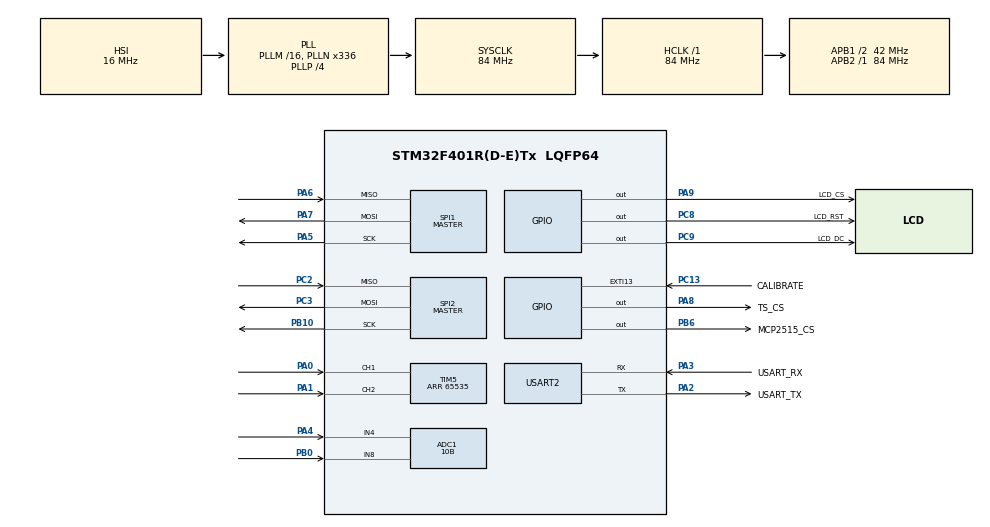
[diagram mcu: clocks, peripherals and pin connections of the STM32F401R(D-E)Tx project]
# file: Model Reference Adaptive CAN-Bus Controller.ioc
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ADC1.Channel-0\#ChannelRegularConversion=ADC_CHANNEL_4
ADC1.Channel-1\#ChannelRegularConversion=ADC_CHANNEL_8
ADC1.DMAContinuousRequests=ENABLE
ADC1.EOCSelection=ADC_EOC_SEQ_CONV
ADC1.ExternalTrigConv=ADC_EXTERNALTRIGCONV_T2_TRGO
ADC1.NbrOfConversion=2
ADC1.NbrOfConversionFlag=1
ADC1.Rank-0\#ChannelRegularConversion=1
ADC1.Rank-1\#ChannelRegularConversion=2
ADC1.Resolution=ADC_RESOLUTION_10B
ADC1.SamplingTime-0\#ChannelRegularConversion=ADC_SAMPLETIME_480CYCLES
ADC1.SamplingTime-1\#ChannelRegularConversion=ADC_SAMPLETIME_480CYCLES
ADC1.ScanConvMode=ENABLE
ADC1.master=1
Dma.ADC1.1.Direction=DMA_PERIPH_TO_MEMORY
Dma.ADC1.1.FIFOMode=DMA_FIFOMODE_DISABLE
Dma.ADC1.1.Instance=DMA2_Stream0
Dma.ADC1.1.MemDataAlignment=DMA_MDATAALIGN_HALFWORD
Dma.ADC1.1.MemInc=DMA_MINC_ENABLE
Dma.ADC1.1.Mode=DMA_CIRCULAR
Dma.ADC1.1.PeriphDataAlignment=DMA_PDATAALIGN_HALFWORD
Dma.ADC1.1.PeriphInc=DMA_PINC_DISABLE
Dma.ADC1.1.Priority=DMA_PRIORITY_LOW
Dma.Request0=USART2_RX
Dma.Request1=ADC1
Dma.USART2_RX.0.Direction=DMA_PERIPH_TO_MEMORY
Dma.USART2_RX.0.FIFOMode=DMA_FIFOMODE_DISABLE
Dma.USART2_RX.0.Instance=DMA1_Stream5
Dma.USART2_RX.0.MemDataAlignment=DMA_MDATAALIGN_BYTE
Dma.USART2_RX.0.MemInc=DMA_MINC_ENABLE
Dma.USART2_RX.0.Mode=DMA_CIRCULAR
Dma.USART2_RX.0.PeriphDataAlignment=DMA_PDATAALIGN_BYTE
Dma.USART2_RX.0.PeriphInc=DMA_PINC_DISABLE
Dma.USART2_RX.0.Priority=DMA_PRIORITY_LOW
FREERTOS.Tasks01=LCDTask,24,300,StartLCDTask,Default,NULL,Dynamic,NULL,NULL;ControlTask,25,300,StartControlTask,Default,NULL,Dynamic,NULL,NULL
Mcu.Family=STM32F4
Mcu.Name=STM32F401R(D-E)Tx
Mcu.Package=LQFP64
NVIC.DMA1_Stream5_IRQn=true\:5\:0\:false\:false\:true\:true\:false\:true
NVIC.DMA2_Stream0_IRQn=true\:5\:0\:false\:false\:true\:true\:false\:true
NVIC.PriorityGroup=NVIC_PRIORITYGROUP_4
NVIC.TIM3_IRQn=true\:0\:0\:false\:false\:true\:false\:false\:true
NVIC.TimeBase=TIM3_IRQn
NVIC.TimeBaseIP=TIM3
PA0-WKUP.GPIO_PuPd=GPIO_PULLDOWN
PA0-WKUP.Signal=S_TIM5_CH1
PA1.GPIO_PuPd=GPIO_PULLDOWN
PA1.Signal=S_TIM5_CH2
PA13.GPIO_Label=TMS
PA13.Mode=Serial_Wire
PA13.Signal=SYS_JTMS-SWDIO
PA14.GPIO_Label=TCK
PA14.Mode=Serial_Wire
PA14.Signal=SYS_JTCK-SWCLK
PA2.GPIO_Label=USART_TX
PA2.GPIO_Mode=GPIO_MODE_AF_PP
PA2.GPIO_PuPd=GPIO_NOPULL
PA2.GPIO_Speed=GPIO_SPEED_FREQ_LOW
PA2.Mode=Asynchronous
PA2.Signal=USART2_TX
PA3.GPIO_Label=USART_RX
PA3.GPIO_Mode=GPIO_MODE_AF_PP
PA3.GPIO_PuPd=GPIO_NOPULL
PA3.GPIO_Speed=GPIO_SPEED_FREQ_LOW
PA3.Mode=Asynchronous
PA3.Signal=USART2_RX
PA4.Signal=ADCx_IN4
PA5.Mode=Full_Duplex_Master
PA5.Signal=SPI1_SCK
PA6.Mode=Full_Duplex_Master
PA6.Signal=SPI1_MISO
PA7.Mode=Full_Duplex_Master
PA7.Signal=SPI1_MOSI
PA8.GPIO_Label=TS_CS
PA8.Signal=GPIO_Output
PA9.GPIO_Label=LCD_CS
PA9.Signal=GPIO_Output
PB0.Signal=ADCx_IN8
PB10.Mode=Full_Duplex_Master
PB10.Signal=SPI2_SCK
PB3.GPIO_Label=SWO
PB3.Signal=SYS_JTDO-SWO
PB6.GPIO_Label=MCP2515_CS
PB6.Signal=GPIO_Output
PC13-ANTI_TAMP.GPIO_Label=CALIBRATE
PC13-ANTI_TAMP.GPIO_ModeDefaultEXTI=GPIO_MODE_IT_FALLING
PC13-ANTI_TAMP.GPIO_PuPd=GPIO_NOPULL
PC13-ANTI_TAMP.Signal=GPXTI13
PC14-OSC32_IN.Mode=LSE-External-Oscillator
PC14-OSC32_IN.Signal=RCC_OSC32_IN
PC15-OSC32_OUT.Mode=LSE-External-Oscillator
PC15-OSC32_OUT.Signal=RCC_OSC32_OUT
PC2.Mode=Full_Duplex_Master
PC2.Signal=SPI2_MISO
PC3.Mode=Full_Duplex_Master
PC3.Signal=SPI2_MOSI
PC8.GPIO_Label=LCD_RST
PC8.Signal=GPIO_Output
PC9.GPIO_Label=LCD_DC
PC9.Signal=GPIO_Output
PH0\ -\ OSC_IN.Mode=HSE-External-Clock-Source
PH0\ -\ OSC_IN.Signal=RCC_OSC_IN
PH1\ -\ OSC_OUT.Mode=HSE-External-Clock-Source
PH1\ -\ OSC_OUT.Signal=RCC_OSC_OUT
ProjectManager.HeapSize=0x200
ProjectManager.StackSize=0x400
ProjectManager.TargetToolchain=STM32CubeIDE
RCC.48MHZClocksFreq_Value=48000000
RCC.AHBFreq_Value=84000000
RCC.APB1CLKDivider=RCC_HCLK_DIV2
RCC.APB1Freq_Value=42000000
RCC.APB1TimFreq_Value=84000000
RCC.APB2Freq_Value=84000000
RCC.APB2TimFreq_Value=84000000
RCC.CortexFreq_Value=84000000
RCC.HCLKFreq_Value=84000000
RCC.HSE_VALUE=8000000
RCC.HSI_VALUE=16000000
RCC.PLLN=336
RCC.PLLP=RCC_PLLP_DIV4
RCC.PLLQ=7
RCC.SYSCLKFreq_VALUE=84000000
RCC.SYSCLKSource=RCC_SYSCLKSOURCE_PLLCLK
RCC.VCOOutputFreq_Value=336000000
SH.ADCx_IN4.0=ADC1_IN4,IN4
SH.ADCx_IN8.0=ADC1_IN8,IN8
SH.S_TIM5_CH1.0=TIM5_CH1,Encoder_Interface
SH.S_TIM5_CH2.0=TIM5_CH2,Encoder_Interface
SPI1.BaudRatePrescaler=SPI_BAUDRATEPRESCALER_8
SPI1.Direction=SPI_DIRECTION_2LINES
SPI1.Mode=SPI_MODE_MASTER
SPI1.VirtualType=VM_MASTER
SPI2.BaudRatePrescaler=SPI_BAUDRATEPRESCALER_8
SPI2.Direction=SPI_DIRECTION_2LINES
SPI2.Mode=SPI_MODE_MASTER
SPI2.VirtualType=VM_MASTER
TIM2.Period=1000
TIM2.Prescaler=83
TIM2.TIM_MasterOutputTrigger=TIM_TRGO_UPDATE
TIM5.EncoderMode=TIM_ENCODERMODE_TI12
TIM5.Period=65535
USART2.VirtualMode=VM_ASYNC
VP_FREERTOS_VS_CMSIS_V2.Mode=CMSIS_V2
VP_SYS_VS_tim3.Mode=TIM3
VP_TIM2_VS_ClockSourceINT.Mode=Internal
board=NUCLEO-F401RE
ProjectManager.TargetToolchain=STM32CubeIDE

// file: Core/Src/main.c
/* USER CODE BEGIN Header */
/**
 ******************************************************************************
 * @file           : main.c
 * @brief          : Main program body
 ******************************************************************************
 * @attention
 *
 * <h2><center>&copy; Copyright (c) 2020 STMicroelectronics.
 * All rights reserved.</center></h2>
 *
 * This software component is licensed by ST under BSD 3-Clause license,
 * the "License"; You may not use this file except in compliance with the
 * License. You may obtain a copy of the License at:
 *                        opensource.org/licenses/BSD-3-Clause
 *
 ******************************************************************************
 */
/* USER CODE END Header */

#include "main.h"
#include "cmsis_os.h"

/* USER CODE BEGIN Includes */
#include "stdbool.h"
#include "LCD_ILI9341/LCDCore/LCD_ILI9341.h"
#include "LCD_ILI9341/LCDTools/LCDTools.h"
#include "CControl/Headers/Functions.h"
#include "FlashMemory/ReadWrite.h"
#include "Encoder/Encoder.h"
#include "MCP2515/j1939.h"
/* USER CODE END Includes */

/* USER CODE BEGIN PD */
#define RDIM 1
/* USER CODE END PD */

ADC_HandleTypeDef hadc1;
DMA_HandleTypeDef hdma_adc1;

SPI_HandleTypeDef hspi1;
SPI_HandleTypeDef hspi2;

TIM_HandleTypeDef htim2;
TIM_HandleTypeDef htim5;

UART_HandleTypeDef huart2;
DMA_HandleTypeDef hdma_usart2_rx;

/* Definitions for LCDTask */
osThreadId_t LCDTaskHandle;
const osThreadAttr_t LCDTask_attributes = {
  .name = "LCDTask",
  .priority = (osPriority_t) osPriorityNormal,
  .stack_size = 300 * 4
};
/* Definitions for ControlTask */
osThreadId_t ControlTaskHandle;
const osThreadAttr_t ControlTask_attributes = {
  .name = "ControlTask",
  .priority = (osPriority_t) osPriorityNormal1,
  .stack_size = 300 * 4
};

void SystemClock_Config(void);
static void MX_GPIO_Init(void);
static void MX_DMA_Init(void);
static void MX_ADC1_Init(void);
static void MX_SPI1_Init(void);
static void MX_SPI2_Init(void);
static void MX_TIM2_Init(void);
static void MX_TIM5_Init(void);
static void MX_USART2_UART_Init(void);
void StartLCDTask(void *argument);
void StartControlTask(void *argument);

/* USER CODE BEGIN PFP */
void readFromMCP2515();
/* USER CODE END PFP */

/* USER CODE BEGIN 0 */

enum frame{
	MRAC_FRAME,
	J1939_FRAME
};

enum screen{
	PLOT,
	ADDRESS,
	CONFIGURATION,
	DM1_MESSAGES
};

/* Settings */
float mrac_gain;
float mrac_saturation;
float valve_delay;
const float one_rotation_pulses = 30;
bool closedloop_on = true;

/* Measurements */
volatile uint16_t adcData[2];
Encoder encoder;
uint8_t UART_RX_DATA[1]; // For 0x23 command
uint8_t UART_TX_DATA[16];
Convert convert; // We borrow the convert Union from folder FlashMemory -> ReadWrite.h file
float new_input0_float;
float new_input1_float;
float new_output_float;
float new_reference_float;

/* LCD */
ILI9341_SPI lcd_spi;

/* J1939 */
J1939 j1939;
bool rename_CA_SA = false;
bool send_a_claim_address_request = false;
bool reset_DM1_messages = false;
bool send_a_configuration_request_read = false;
bool send_a_configuration_request_write = false;

/* USER CODE END 0 */

int main(void)
{

  /* MCU Configuration--------------------------------------------------------*/

  /* Reset of all peripherals, Initializes the Flash interface and the Systick. */
   HAL_Init();

  /* Configure the system clock */
  SystemClock_Config();

  /* Initialize all configured peripherals */
  MX_GPIO_Init();
  MX_DMA_Init();
  MX_ADC1_Init();
  MX_SPI1_Init();
  MX_SPI2_Init();
  MX_TIM2_Init();
  MX_TIM5_Init();
  MX_USART2_UART_Init();
  /* USER CODE BEGIN 2 */

	// Start encoder
	HAL_TIM_Encoder_Start(&htim5, TIM_CHANNEL_ALL);
	Encoder_init(&encoder, &htim5, one_rotation_pulses);

	// Start ADC with DMA
	HAL_TIM_Base_Start(&htim2);
	HAL_ADC_Start_DMA(&hadc1, (uint32_t*) adcData, 2);

	// Start DMA for UART
	HAL_UART_Receive_DMA(&huart2, UART_RX_DATA, 1);

	// Set the address and sector for F401RE CPU where we are going to store the settings. Look at chapter 3.3 at document RM0368 for STM32F401xB/C and STM32F401xD/E processors
	FlashSetSectorAddrs(7, 0x08060000);

	// Init LCD
	ILI9341_Init(&lcd_spi, &hspi2, LCD_CS_GPIO_Port, LCD_CS_Pin, LCD_DC_GPIO_Port, LCD_DC_Pin, LCD_RST_GPIO_Port, LCD_RST_Pin, TS_CS_GPIO_Port, TS_CS_Pin);

	// Show welcome screen
	ILI9341_setRotation(&lcd_spi, 2);
	ILI9341_printImage(&lcd_spi, 0, 0, 320, 240, windowsME_intro, 640 * 240 * sizeof(uint8_t));
	HAL_Delay(5000);

	// Load the user configurations
	float rdBuf[7];
	FlashReadN(0, rdBuf, 7, DATA_TYPE_FLOAT);
	lcd_spi.myTS_Calibrate.Scale_X = rdBuf[0];
	lcd_spi.myTS_Calibrate.Scale_Y = rdBuf[1];
	lcd_spi.myTS_Calibrate.Bias_X = rdBuf[2];
	lcd_spi.myTS_Calibrate.Bias_Y = rdBuf[3];
	mrac_gain = isnanf(rdBuf[4]) != 0 ? 0.0001 : rdBuf[4];
	mrac_saturation = isnanf(rdBuf[5]) != 0 ? 1 : rdBuf[5];
	valve_delay = isnanf(rdBuf[6]) != 0 ? 1 : rdBuf[6];

	// Calibrate the touch if blue Nucleo board button is pressed
	if (HAL_GPIO_ReadPin(CALIBRATE_GPIO_Port, CALIBRATE_Pin) == GPIO_PIN_RESET) {
		TSC2046_Calibrate(&lcd_spi);
	}

	// Create initial frame
	bool update_main_frame = true;
	show_main_frame_mrac(&lcd_spi, closedloop_on, update_main_frame);

	// This will init CAN
	j1939.SA_ECU = 0x22;
	read_1939_message(&j1939);

  /* USER CODE END 2 */

  /* Init scheduler */
  osKernelInitialize();

  /* Create the thread(s) */
  /* creation of LCDTask */
  LCDTaskHandle = osThreadNew(StartLCDTask, NULL, &LCDTask_attributes);

  /* creation of ControlTask */
  ControlTaskHandle = osThreadNew(StartControlTask, NULL, &ControlTask_attributes);

  /* Start scheduler */
  osKernelStart();

  /* We should never get here as control is now taken by the scheduler */
  /* Infinite loop */
	while (1) {

	}
}

void SystemClock_Config(void)
{
  RCC_OscInitTypeDef RCC_OscInitStruct = {0};
  RCC_ClkInitTypeDef RCC_ClkInitStruct = {0};

  /** Configure the main internal regulator output voltage
  */
  __HAL_RCC_PWR_CLK_ENABLE();
  __HAL_PWR_VOLTAGESCALING_CONFIG(PWR_REGULATOR_VOLTAGE_SCALE2);
  /** Initializes the CPU, AHB and APB busses clocks
  */
  RCC_OscInitStruct.OscillatorType = RCC_OSCILLATORTYPE_HSI;
  RCC_OscInitStruct.HSIState = RCC_HSI_ON;
  RCC_OscInitStruct.HSICalibrationValue = RCC_HSICALIBRATION_DEFAULT;
  RCC_OscInitStruct.PLL.PLLState = RCC_PLL_ON;
  RCC_OscInitStruct.PLL.PLLSource = RCC_PLLSOURCE_HSI;
  RCC_OscInitStruct.PLL.PLLM = 16;
  RCC_OscInitStruct.PLL.PLLN = 336;
  RCC_OscInitStruct.PLL.PLLP = RCC_PLLP_DIV4;
  RCC_OscInitStruct.PLL.PLLQ = 7;
  if (HAL_RCC_OscConfig(&RCC_OscInitStruct) != HAL_OK)
  {
    Error_Handler();
  }
  /** Initializes the CPU, AHB and APB busses clocks
  */
  RCC_ClkInitStruct.ClockType = RCC_CLOCKTYPE_HCLK|RCC_CLOCKTYPE_SYSCLK
                              |RCC_CLOCKTYPE_PCLK1|RCC_CLOCKTYPE_PCLK2;
  RCC_ClkInitStruct.SYSCLKSource = RCC_SYSCLKSOURCE_PLLCLK;
  RCC_ClkInitStruct.AHBCLKDivider = RCC_SYSCLK_DIV1;
  RCC_ClkInitStruct.APB1CLKDivider = RCC_HCLK_DIV2;
  RCC_ClkInitStruct.APB2CLKDivider = RCC_HCLK_DIV1;

  if (HAL_RCC_ClockConfig(&RCC_ClkInitStruct, FLASH_LATENCY_2) != HAL_OK)
  {
    Error_Handler();
  }
}

static void MX_ADC1_Init(void)
{

  ADC_ChannelConfTypeDef sConfig = {0};

  /** Configure the global features of the ADC (Clock, Resolution, Data Alignment and number of conversion)
  */
  hadc1.Instance = ADC1;
  hadc1.Init.ClockPrescaler = ADC_CLOCK_SYNC_PCLK_DIV4;
  hadc1.Init.Resolution = ADC_RESOLUTION_10B;
  hadc1.Init.ScanConvMode = ENABLE;
  hadc1.Init.ContinuousConvMode = DISABLE;
  hadc1.Init.DiscontinuousConvMode = DISABLE;
  hadc1.Init.ExternalTrigConvEdge = ADC_EXTERNALTRIGCONVEDGE_RISING;
  hadc1.Init.ExternalTrigConv = ADC_EXTERNALTRIGCONV_T2_TRGO;
  hadc1.Init.DataAlign = ADC_DATAALIGN_RIGHT;
  hadc1.Init.NbrOfConversion = 2;
  hadc1.Init.DMAContinuousRequests = ENABLE;
  hadc1.Init.EOCSelection = ADC_EOC_SEQ_CONV;
  if (HAL_ADC_Init(&hadc1) != HAL_OK)
  {
    Error_Handler();
  }
  /** Configure for the selected ADC regular channel its corresponding rank in the sequencer and its sample time.
  */
  sConfig.Channel = ADC_CHANNEL_4;
  sConfig.Rank = 1;
  sConfig.SamplingTime = ADC_SAMPLETIME_480CYCLES;
  if (HAL_ADC_ConfigChannel(&hadc1, &sConfig) != HAL_OK)
  {
    Error_Handler();
  }
  /** Configure for the selected ADC regular channel its corresponding rank in the sequencer and its sample time.
  */
  sConfig.Channel = ADC_CHANNEL_8;
  sConfig.Rank = 2;
  if (HAL_ADC_ConfigChannel(&hadc1, &sConfig) != HAL_OK)
  {
    Error_Handler();
  }

}

static void MX_SPI1_Init(void)
{

  /* SPI1 parameter configuration*/
  hspi1.Instance = SPI1;
  hspi1.Init.Mode = SPI_MODE_MASTER;
  hspi1.Init.Direction = SPI_DIRECTION_2LINES;
  hspi1.Init.DataSize = SPI_DATASIZE_8BIT;
  hspi1.Init.CLKPolarity = SPI_POLARITY_LOW;
  hspi1.Init.CLKPhase = SPI_PHASE_1EDGE;
  hspi1.Init.NSS = SPI_NSS_SOFT;
  hspi1.Init.BaudRatePrescaler = SPI_BAUDRATEPRESCALER_8;
  hspi1.Init.FirstBit = SPI_FIRSTBIT_MSB;
  hspi1.Init.TIMode = SPI_TIMODE_DISABLE;
  hspi1.Init.CRCCalculation = SPI_CRCCALCULATION_DISABLE;
  hspi1.Init.CRCPolynomial = 10;
  if (HAL_SPI_Init(&hspi1) != HAL_OK)
  {
    Error_Handler();
  }

}

static void MX_SPI2_Init(void)
{

  /* SPI2 parameter configuration*/
  hspi2.Instance = SPI2;
  hspi2.Init.Mode = SPI_MODE_MASTER;
  hspi2.Init.Direction = SPI_DIRECTION_2LINES;
  hspi2.Init.DataSize = SPI_DATASIZE_8BIT;
  hspi2.Init.CLKPolarity = SPI_POLARITY_LOW;
  hspi2.Init.CLKPhase = SPI_PHASE_1EDGE;
  hspi2.Init.NSS = SPI_NSS_SOFT;
  hspi2.Init.BaudRatePrescaler = SPI_BAUDRATEPRESCALER_8;
  hspi2.Init.FirstBit = SPI_FIRSTBIT_MSB;
  hspi2.Init.TIMode = SPI_TIMODE_DISABLE;
  hspi2.Init.CRCCalculation = SPI_CRCCALCULATION_DISABLE;
  hspi2.Init.CRCPolynomial = 10;
  if (HAL_SPI_Init(&hspi2) != HAL_OK)
  {
    Error_Handler();
  }

}

static void MX_TIM2_Init(void)
{

  TIM_ClockConfigTypeDef sClockSourceConfig = {0};
  TIM_MasterConfigTypeDef sMasterConfig = {0};

  htim2.Instance = TIM2;
  htim2.Init.Prescaler = 83;
  htim2.Init.CounterMode = TIM_COUNTERMODE_UP;
  htim2.Init.Period = 1000;
  htim2.Init.ClockDivision = TIM_CLOCKDIVISION_DIV1;
  htim2.Init.AutoReloadPreload = TIM_AUTORELOAD_PRELOAD_DISABLE;
  if (HAL_TIM_Base_Init(&htim2) != HAL_OK)
  {
    Error_Handler();
  }
  sClockSourceConfig.ClockSource = TIM_CLOCKSOURCE_INTERNAL;
  if (HAL_TIM_ConfigClockSource(&htim2, &sClockSourceConfig) != HAL_OK)
  {
    Error_Handler();
  }
  sMasterConfig.MasterOutputTrigger = TIM_TRGO_UPDATE;
  sMasterConfig.MasterSlaveMode = TIM_MASTERSLAVEMODE_DISABLE;
  if (HAL_TIMEx_MasterConfigSynchronization(&htim2, &sMasterConfig) != HAL_OK)
  {
    Error_Handler();
  }

}

static void MX_TIM5_Init(void)
{

  TIM_Encoder_InitTypeDef sConfig = {0};
  TIM_MasterConfigTypeDef sMasterConfig = {0};

  htim5.Instance = TIM5;
  htim5.Init.Prescaler = 0;
  htim5.Init.CounterMode = TIM_COUNTERMODE_UP;
  htim5.Init.Period = 65535;
  htim5.Init.ClockDivision = TIM_CLOCKDIVISION_DIV1;
  htim5.Init.AutoReloadPreload = TIM_AUTORELOAD_PRELOAD_DISABLE;
  sConfig.EncoderMode = TIM_ENCODERMODE_TI12;
  sConfig.IC1Polarity = TIM_ICPOLARITY_RISING;
  sConfig.IC1Selection = TIM_ICSELECTION_DIRECTTI;
  sConfig.IC1Prescaler = TIM_ICPSC_DIV1;
  sConfig.IC1Filter = 0;
  sConfig.IC2Polarity = TIM_ICPOLARITY_RISING;
  sConfig.IC2Selection = TIM_ICSELECTION_DIRECTTI;
  sConfig.IC2Prescaler = TIM_ICPSC_DIV1;
  sConfig.IC2Filter = 0;
  if (HAL_TIM_Encoder_Init(&htim5, &sConfig) != HAL_OK)
  {
    Error_Handler();
  }
  sMasterConfig.MasterOutputTrigger = TIM_TRGO_RESET;
  sMasterConfig.MasterSlaveMode = TIM_MASTERSLAVEMODE_DISABLE;
  if (HAL_TIMEx_MasterConfigSynchronization(&htim5, &sMasterConfig) != HAL_OK)
  {
    Error_Handler();
  }

}

static void MX_USART2_UART_Init(void)
{

  huart2.Instance = USART2;
  huart2.Init.BaudRate = 115200;
  huart2.Init.WordLength = UART_WORDLENGTH_8B;
  huart2.Init.StopBits = UART_STOPBITS_1;
  huart2.Init.Parity = UART_PARITY_NONE;
  huart2.Init.Mode = UART_MODE_TX_RX;
  huart2.Init.HwFlowCtl = UART_HWCONTROL_NONE;
  huart2.Init.OverSampling = UART_OVERSAMPLING_16;
  if (HAL_UART_Init(&huart2) != HAL_OK)
  {
    Error_Handler();
  }

}

static void MX_DMA_Init(void)
{

  /* DMA controller clock enable */
  __HAL_RCC_DMA1_CLK_ENABLE();
  __HAL_RCC_DMA2_CLK_ENABLE();

  /* DMA interrupt init */
  /* DMA1_Stream5_IRQn interrupt configuration */
  HAL_NVIC_SetPriority(DMA1_Stream5_IRQn, 5, 0);
  HAL_NVIC_EnableIRQ(DMA1_Stream5_IRQn);
  /* DMA2_Stream0_IRQn interrupt configuration */
  HAL_NVIC_SetPriority(DMA2_Stream0_IRQn, 5, 0);
  HAL_NVIC_EnableIRQ(DMA2_Stream0_IRQn);

}

static void MX_GPIO_Init(void)
{
  GPIO_InitTypeDef GPIO_InitStruct = {0};

  /* GPIO Ports Clock Enable */
  __HAL_RCC_GPIOC_CLK_ENABLE();
  __HAL_RCC_GPIOH_CLK_ENABLE();
  __HAL_RCC_GPIOA_CLK_ENABLE();
  __HAL_RCC_GPIOB_CLK_ENABLE();

  /*Configure GPIO pin Output Level */
  HAL_GPIO_WritePin(GPIOC, LCD_RST_Pin|LCD_DC_Pin, GPIO_PIN_RESET);

  /*Configure GPIO pin Output Level */
  HAL_GPIO_WritePin(GPIOA, TS_CS_Pin|LCD_CS_Pin, GPIO_PIN_RESET);

  /*Configure GPIO pin Output Level */
  HAL_GPIO_WritePin(MCP2515_CS_GPIO_Port, MCP2515_CS_Pin, GPIO_PIN_RESET);

  /*Configure GPIO pin : CALIBRATE_Pin */
  GPIO_InitStruct.Pin = CALIBRATE_Pin;
  GPIO_InitStruct.Mode = GPIO_MODE_IT_FALLING;
  GPIO_InitStruct.Pull = GPIO_NOPULL;
  HAL_GPIO_Init(CALIBRATE_GPIO_Port, &GPIO_InitStruct);

  /*Configure GPIO pins : LCD_RST_Pin LCD_DC_Pin */
  GPIO_InitStruct.Pin = LCD_RST_Pin|LCD_DC_Pin;
  GPIO_InitStruct.Mode = GPIO_MODE_OUTPUT_PP;
  GPIO_InitStruct.Pull = GPIO_NOPULL;
  GPIO_InitStruct.Speed = GPIO_SPEED_FREQ_LOW;
  HAL_GPIO_Init(GPIOC, &GPIO_InitStruct);

  /*Configure GPIO pins : TS_CS_Pin LCD_CS_Pin */
  GPIO_InitStruct.Pin = TS_CS_Pin|LCD_CS_Pin;
  GPIO_InitStruct.Mode = GPIO_MODE_OUTPUT_PP;
  GPIO_InitStruct.Pull = GPIO_NOPULL;
  GPIO_InitStruct.Speed = GPIO_SPEED_FREQ_LOW;
  HAL_GPIO_Init(GPIOA, &GPIO_InitStruct);

  /*Configure GPIO pin : MCP2515_CS_Pin */
  GPIO_InitStruct.Pin = MCP2515_CS_Pin;
  GPIO_InitStruct.Mode = GPIO_MODE_OUTPUT_PP;
  GPIO_InitStruct.Pull = GPIO_NOPULL;
  GPIO_InitStruct.Speed = GPIO_SPEED_FREQ_LOW;
  HAL_GPIO_Init(MCP2515_CS_GPIO_Port, &GPIO_InitStruct);

}

/* USER CODE BEGIN 4 */

void HAL_UART_RxCpltCallback(UART_HandleTypeDef *huart) {
	/* Prevent unused argument(s) compilation warning */
	UNUSED(huart);
	/* NOTE: This function should not be modified, when the callback is needed,
	 the HAL_UART_RxCpltCallback could be implemented in the user file
	 */

	// When we get 0x23 = '#', then send back new_output_float and new_input_float
	if (UART_RX_DATA[0] == 0x23) {
		convert.float_value = new_input0_float;
		UART_TX_DATA[0] = convert.uint8_values[0];
		UART_TX_DATA[1] = convert.uint8_values[1];
		UART_TX_DATA[2] = convert.uint8_values[2];
		UART_TX_DATA[3] = convert.uint8_values[3];
		convert.float_value = new_input1_float;
		UART_TX_DATA[4] = convert.uint8_values[0];
		UART_TX_DATA[5] = convert.uint8_values[1];
		UART_TX_DATA[6] = convert.uint8_values[2];
		UART_TX_DATA[7] = convert.uint8_values[3];
		convert.float_value = new_output_float;
		UART_TX_DATA[8] = convert.uint8_values[0];
		UART_TX_DATA[9] = convert.uint8_values[1];
		UART_TX_DATA[10] = convert.uint8_values[2];
		UART_TX_DATA[11] = convert.uint8_values[3];
		convert.float_value = new_reference_float;
		UART_TX_DATA[12] = convert.uint8_values[0];
		UART_TX_DATA[13] = convert.uint8_values[1];
		UART_TX_DATA[14] = convert.uint8_values[2];
		UART_TX_DATA[15] = convert.uint8_values[3];
		HAL_UART_Transmit(&huart2, UART_TX_DATA, 15, 10);
	}
}

float map(float x, float in_min, float in_max, float out_min, float out_max) {
	return (x - in_min) * (out_max - out_min) / (in_max - in_min) + out_min;
}
/* USER CODE END 4 */

void StartLCDTask(void *argument)
{
  /* USER CODE BEGIN 5 */
	/* Infinite loop */
	uint8_t FRAME_ID = 0;
	uint8_t SCREEN_ID = 0;
	for (;;) {
		// Read the LCD touch
		TSC2046_GetTouchData(&lcd_spi);
		uint8_t isPressed = lcd_spi.myTsData.isPressed;
		uint16_t X = lcd_spi.myTsData.X;
		uint16_t Y = lcd_spi.myTsData.Y;
		if (isPressed == true) {
			// Check which button we are pressing on
			if (X >= 8 && X <= 37 && Y >= 8 && Y <= 37) {
				if(MRAC_FRAME == FRAME_ID){
					// MRAC gain
					bool decimalbutton_show = true;
					bool minusbutton_show = false;
					show_num_pad_frame(&lcd_spi, decimalbutton_show, minusbutton_show, &mrac_gain, "Set MRAC gain");
					bool update_main_frame = true;
					show_main_frame_mrac(&lcd_spi, closedloop_on, update_main_frame);
					SCREEN_ID = PLOT;
				}else if(J1939_FRAME == FRAME_ID){
					// Show address
					show_j1939_CA_names_frame(&lcd_spi, j1939.CA, j1939.SA_ACU);
					SCREEN_ID = ADDRESS;
				}

			} else if (X >= 8 && X <= 37 && Y >= 55 && Y <= 94) {
				if(MRAC_FRAME == FRAME_ID){
					// Set MRAC saturation
					bool decimalbutton_show = false;
					bool minusbutton_show = false;
					show_num_pad_frame(&lcd_spi, decimalbutton_show, minusbutton_show, &mrac_saturation, "Set MRAC saturation");
					bool update_main_frame = true;
					show_main_frame_mrac(&lcd_spi, closedloop_on, update_main_frame);
					SCREEN_ID = PLOT;
				}else if(J1939_FRAME == FRAME_ID){
					// Set configuration
					show_j1939_configurations_frame(&lcd_spi, j1939.EEPROM_values, j1939.DM15_Status);
					SCREEN_ID = CONFIGURATION;
				}

			} else if (X >= 8 && X <= 37 && Y >= 100 && Y <= 139) {
				if(MRAC_FRAME == FRAME_ID){
					// Set valve delay
					bool decimalbutton_show = false;
					bool minusbutton_show = false;
					show_num_pad_frame(&lcd_spi, decimalbutton_show, minusbutton_show, &valve_delay, "Set valve delay");
					bool update_main_frame = true;
					show_main_frame_mrac(&lcd_spi, closedloop_on, update_main_frame);
					SCREEN_ID = PLOT;
				}else if(J1939_FRAME == FRAME_ID){
					// Read error DM1 messages
					show_j1939_DM1_error_messages_frame(&lcd_spi, j1939.DM1_Messages_Binary);
					SCREEN_ID = DM1_MESSAGES;
				}
			} else if (X >= 8 && X <= 37 && Y >= 146 && Y <= 185) {
				if(MRAC_FRAME == FRAME_ID){
					// Open loop or closed loop
					if (closedloop_on == true)
						closedloop_on = false;
					else
						closedloop_on = true;
					bool update_main_frame = false;
					osDelay(300); // Prevent double click
					show_main_frame_mrac(&lcd_spi, closedloop_on, update_main_frame);
					SCREEN_ID = PLOT;
				}else if(J1939_FRAME == FRAME_ID){
					// Question dialog if you want to save the user settings
					uint8_t choice = show_question_save_settings_dialog(&lcd_spi); // Return 1 as YES and 0 as NO
					if (choice == 1) {
						// Save the touch calibration and the user settings
						float wrBuf[7] = { lcd_spi.myTS_Calibrate.Scale_X, lcd_spi.myTS_Calibrate.Scale_Y, lcd_spi.myTS_Calibrate.Bias_X, lcd_spi.myTS_Calibrate.Bias_Y, mrac_gain, mrac_saturation, valve_delay };
						FlashEraseSector(); // Must clear first
						FlashWriteN(0, wrBuf, 7, DATA_TYPE_FLOAT);
					}

					// Restore to normal again
					bool update_main_frame = true;
					show_j1939_main_frame(&lcd_spi, update_main_frame);
					// Same screen ID as before
				}
			} else if (X >= 8 && X <= 37 && Y >= 193 && Y <= 232) {
				// Change screen
				bool update_main_frame = true;
				if(MRAC_FRAME == FRAME_ID){
					FRAME_ID = J1939_FRAME;
					SCREEN_ID = ADDRESS;
					show_j1939_main_frame(&lcd_spi, update_main_frame);
				}else if(J1939_FRAME == FRAME_ID){
					FRAME_ID = MRAC_FRAME;
					SCREEN_ID = PLOT;
					show_main_frame_mrac(&lcd_spi, closedloop_on, update_main_frame);
				}
			} else if(X >= 100 && X <= 160 && Y >= 170 && Y <= 197){
				// We pressed a button - Change button or Reset for the J1939_FRAME
				if(J1939_FRAME == FRAME_ID){
					if(ADDRESS == SCREEN_ID){
						// Change button pressed
						rename_CA_SA = show_j1939_set_CA_names_numpad(&lcd_spi, j1939.CA, &j1939.SA_ACU); // Set the CA names and source address
						bool update_main_frame = true;
						show_j1939_main_frame(&lcd_spi, update_main_frame);
						show_j1939_CA_names_frame(&lcd_spi, j1939.CA, j1939.SA_ACU);
					}else if(DM1_MESSAGES == SCREEN_ID){
						// Reset button pressed
						reset_DM1_messages = true; // This will cause so we delete j1939.DM1_Messages_Binary array directly in other thread below
						show_j1939_DM1_error_messages_frame(&lcd_spi, j1939.DM1_Messages_Binary);
					}else if(CONFIGURATION == SCREEN_ID){
						// Change button pressed
						send_a_configuration_request_write = show_j1939_set_configurations_numpad(&lcd_spi, j1939.EEPROM_values, j1939.DM15_Status);
						bool update_main_frame = true;
						show_j1939_main_frame(&lcd_spi, update_main_frame);
						show_j1939_configurations_frame(&lcd_spi, j1939.EEPROM_values, j1939.DM15_Status);
					}
				}
			} else if(X >= 215 && X <= 277 && Y >= 170 && Y <= 197){
				// We pressed a button - Request button for the J1939_FRAME
				if(J1939_FRAME == FRAME_ID){
					if(ADDRESS == SCREEN_ID){
						// Pressed the request button
						send_a_claim_address_request = true; // Claim for a address by letting the other thread do the request first
						bool update_main_frame = true;
						show_j1939_main_frame(&lcd_spi, update_main_frame);
						show_j1939_CA_names_frame(&lcd_spi, j1939.CA, j1939.SA_ACU);
					}else if(CONFIGURATION == SCREEN_ID){
						// Pressed the request button
						send_a_configuration_request_read = true; // Request for a configurations by letting the other thread do the request first
						bool update_main_frame = true;
						show_j1939_main_frame(&lcd_spi, update_main_frame);
						show_j1939_configurations_frame(&lcd_spi, j1939.EEPROM_values, j1939.DM15_Status);
					}
				}
			}
			/* Debug coordinates
			char coordinates[40];
			sprintf(coordinates, "X=%d, Y=%d", X, Y);
			ILI9341_printText(&lcd_spi, coordinates, 100, 50, COLOR_RED, COLOR_NAVY, 1);
			*/
		} else {
			if(MRAC_FRAME == FRAME_ID){
				if(PLOT == SCREEN_ID){
					// Maximum plot can show is value 203
					uint16_t new_output_uint = map(new_output_float, -250, 250, 0, 203);
					uint16_t new_input0_uint = map(new_input0_float, -250, 250, 0, 203);
					uint16_t new_input1_uint = map(new_input1_float, -250, 250, 0, 203);
					uint16_t new_reference_uint = map(new_reference_float, -250, 250, 0, 203);
					bool only_move_array = false;
					bool clear_plot = false;
					show_plot_frame(&lcd_spi, new_input0_float, new_input1_float, new_output_float, new_reference_float, new_input0_uint, new_input1_uint, new_output_uint, new_reference_uint, only_move_array, clear_plot);
				}
			}else if(J1939_FRAME == FRAME_ID){
				// Add logic here
			}

		}

		osDelay(1);
	}
  /* USER CODE END 5 */
}

void StartControlTask(void *argument)
{
  /* USER CODE BEGIN StartControlTask */
	/* Infinite loop */
	float I1[RDIM] = { 0 }; // Integral for MRAC
	float I2[RDIM] = { 0 }; // Integral for MRAC
	float u[RDIM] = { 0 };
	float y[RDIM] = { 0 };
	float r[RDIM + 1] = { 0, 0 }; // Special case for the manual mode
	float x = 0; // State vector
	for (;;) {

		// Read the inputs and outputs
		r[0] = saturation((adcData[0] - 511) / 2, -250, 250);
		r[1] = saturation((adcData[1] - 511) / 2, -250, 250);
		Encoder_count(&encoder);
		y[0] = Encoder_getSpeed(&encoder) / one_rotation_pulses;

		// Do control mode now or manual mode
		if (closedloop_on) {

			// Set the reference so we can plot it
			new_reference_float = r[0];

			// Compute MRAC with the input signal u with saturation limit
			mrac(mrac_saturation, mrac_gain, y, u, r, I1, I2, RDIM);
			u[0] = saturation(u[0], -250, 250);

			// Compute the delay with Euler simulation for first order state space model with sampling time 1 ms
			x = x + 0.001 * (-1 / valve_delay * x + 1 / valve_delay * u[0]);

			// Control forward or backward
			if (u[0] > 0) {
				r[0] = u[0];
				r[1] = x;
			} else if (u[0] < 0) {
				r[0] = x;
				r[1] = u[0];
			} else {
				r[0] = 0;
				r[1] = 0;
				x = 0;
			}
		}else{
			new_reference_float = 0; // Plot this
		}

		// Set to plot
		new_input0_float = r[0];
		new_input1_float = r[1];
		new_output_float = y[0];

		// Set the control command to CAN-bus motors
		write_1939_auxiliary_valve_command(0x30, &j1939, r[0]);
		write_1939_auxiliary_valve_command(0x31, &j1939, r[1]);

		// Check if we got some CAN message
		read_1939_message(&j1939);

		// If we pressed "Flash" button
		if(rename_CA_SA){
			write_1939_CA_names_and_source_address(&j1939);
			rename_CA_SA = false;
		}
		// If we pressed "Request" button
		if(send_a_claim_address_request){
			write_1939_request_for_claim_address(&j1939);
			send_a_claim_address_request = false;
		}
		// If we pressed "Reset" button
		if(reset_DM1_messages){
			memset(j1939.DM1_Messages_Binary, 0, 8);
			j1939.DM15_Status = DM15_Proceed;
			reset_DM1_messages = false;
		}
		// If we pressed "Request" button
		if(send_a_configuration_request_read){
			write_1939_configuration_request(&j1939, 1); // Read
			send_a_configuration_request_read = false;
		}
		// If we pressed "Flash" button
		if(send_a_configuration_request_write){
			write_1939_configuration_request(&j1939, 2); // Write
			send_a_configuration_request_write = false;
		}

		osDelay(1);
	}
  /* USER CODE END StartControlTask */
}

 /**
  * @brief  Period elapsed callback in non blocking mode
  * @note   This function is called  when TIM3 interrupt took place, inside
  * HAL_TIM_IRQHandler(). It makes a direct call to HAL_IncTick() to increment
  * a global variable "uwTick" used as application time base.
  * @param  htim : TIM handle
  * @retval None
  */
void HAL_TIM_PeriodElapsedCallback(TIM_HandleTypeDef *htim)
{
  if (htim->Instance == TIM3) {
    HAL_IncTick();
  }
}

void Error_Handler(void)
{
}

/************************ (C) COPYRIGHT STMicroelectronics *****END OF FILE****/
